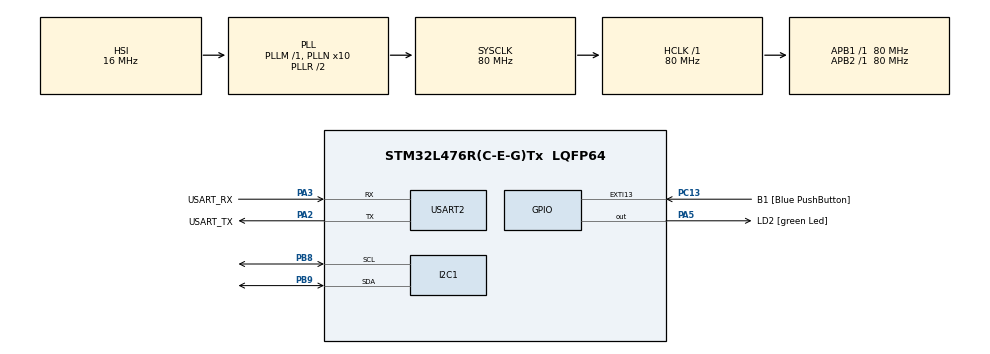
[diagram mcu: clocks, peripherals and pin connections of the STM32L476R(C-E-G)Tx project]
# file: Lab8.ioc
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I2C1.I2C_Fall_Time=0
I2C1.I2C_Rise_Time=0
I2C1.Timing=0x10909CEC
Mcu.Family=STM32L4
Mcu.Name=STM32L476R(C-E-G)Tx
Mcu.Package=LQFP64
NVIC.PriorityGroup=NVIC_PRIORITYGROUP_4
PA13\ (JTMS-SWDIO).GPIO_Label=TMS
PA13\ (JTMS-SWDIO).Mode=Serial_Wire
PA13\ (JTMS-SWDIO).Signal=SYS_JTMS-SWDIO
PA14\ (JTCK-SWCLK).GPIO_Label=TCK
PA14\ (JTCK-SWCLK).Mode=Serial_Wire
PA14\ (JTCK-SWCLK).Signal=SYS_JTCK-SWCLK
PA2.GPIO_Label=USART_TX
PA2.GPIO_Mode=GPIO_MODE_AF_PP
PA2.GPIO_PuPd=GPIO_NOPULL
PA2.GPIO_Speed=GPIO_SPEED_FREQ_VERY_HIGH
PA2.Mode=Asynchronous
PA2.Signal=USART2_TX
PA3.GPIO_Label=USART_RX
PA3.GPIO_Mode=GPIO_MODE_AF_PP
PA3.GPIO_PuPd=GPIO_NOPULL
PA3.GPIO_Speed=GPIO_SPEED_FREQ_VERY_HIGH
PA3.Mode=Asynchronous
PA3.Signal=USART2_RX
PA5.GPIO_Label=LD2 [green Led]
PA5.GPIO_ModeDefaultOutputPP=GPIO_MODE_OUTPUT_PP
PA5.GPIO_PuPd=GPIO_NOPULL
PA5.GPIO_Speed=GPIO_SPEED_FREQ_LOW
PA5.Signal=GPIO_Output
PB3\ (JTDO-TRACESWO).GPIO_Label=SWO
PB3\ (JTDO-TRACESWO).Signal=SYS_JTDO-SWO
PB8.Mode=I2C
PB8.Signal=I2C1_SCL
PB9.Mode=I2C
PB9.Signal=I2C1_SDA
PC13.GPIO_Label=B1 [Blue PushButton]
PC13.GPIO_ModeDefaultEXTI=GPIO_MODE_IT_FALLING
PC13.GPIO_PuPd=GPIO_NOPULL
PC13.Signal=GPXTI13
PC14-OSC32_IN\ (PC14).Mode=LSE-External-Oscillator
PC14-OSC32_IN\ (PC14).Signal=RCC_OSC32_IN
PC15-OSC32_OUT\ (PC15).Mode=LSE-External-Oscillator
PC15-OSC32_OUT\ (PC15).Signal=RCC_OSC32_OUT
PH0-OSC_IN\ (PH0).Signal=RCC_OSC_IN
PH1-OSC_OUT\ (PH1).Signal=RCC_OSC_OUT
ProjectManager.HeapSize=0x200
ProjectManager.StackSize=0x400
ProjectManager.TargetToolchain=STM32CubeIDE
RCC.ADCFreq_Value=64000000
RCC.AHBFreq_Value=80000000
RCC.APB1Freq_Value=80000000
RCC.APB1TimFreq_Value=80000000
RCC.APB2Freq_Value=80000000
RCC.APB2TimFreq_Value=80000000
RCC.CortexFreq_Value=80000000
RCC.HCLKFreq_Value=80000000
RCC.HSE_VALUE=8000000
RCC.HSI_VALUE=16000000
RCC.MSI_VALUE=4000000
RCC.PLLN=10
RCC.PLLSourceVirtual=RCC_PLLSOURCE_HSI
RCC.PREFETCH_ENABLE=1
RCC.SYSCLKFreq_VALUE=80000000
RCC.SYSCLKSource=RCC_SYSCLKSOURCE_PLLCLK
RCC.USBFreq_Value=64000000
RCC.VCOOutputFreq_Value=160000000
USART2.VirtualMode-Asynchronous=VM_ASYNC
board=NUCLEO-L476RG

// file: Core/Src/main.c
/* USER CODE BEGIN Header */
/**
  ******************************************************************************
  * @file           : main.c
  * @brief          : Main program body
  ******************************************************************************
  * @attention
  *
  * Copyright (c) 2025 STMicroelectronics.
  * All rights reserved.
  *
  * This software is licensed under terms that can be found in the LICENSE file
  * in the root directory of this software component.
  * If no LICENSE file comes with this software, it is provided AS-IS.
  *
  ******************************************************************************
  */
/* USER CODE END Header */
#include "main.h"

/* USER CODE BEGIN Includes */
#include <stdio.h>
#include <string.h>
/* USER CODE END Includes */

I2C_HandleTypeDef hi2c1;

UART_HandleTypeDef huart2;

/* USER CODE BEGIN PV */
char buffer[100];
#define MPU_I2C 0b1101000 << (1 + 0) // left shifted 7 bit address
#define TEMP_MSB 0x41

#define ACCEL_CONFIG 0x1C
#define X_ACCEL_MSB 0x3B
#define Y_ACCEL_MSB 0x3D
#define Z_ACCEL_MSB 0x3F
float xAccel;
float yAccel;
float zAccel;

int16_t rawGyro;
float gyroX, gyroY, gyroZ;

#define GYRO_CONFIG 0x1B // from datasheet
#define X_GYRO_MSB 0x43
#define Y_GYRO_MSB 0x45
#define Z_GYRO_MSB 0x47

/* USER CODE END PV */

void SystemClock_Config(void);
static void MX_GPIO_Init(void);
static void MX_USART2_UART_Init(void);
static void MX_I2C1_Init(void);

/* USER CODE BEGIN 0 */
void tip (float x, float y, float z){
	float meas  = 0.6;
	if (x > meas || y > meas || z > meas || x < -meas || y < -meas || z < -meas){
	   HAL_GPIO_WritePin(GPIOA, GPIO_PIN_5, GPIO_PIN_SET);
	}else{
	   HAL_GPIO_WritePin(GPIOA, GPIO_PIN_5, GPIO_PIN_RESET);
	}
}

/* USER CODE END 0 */

int main(void)
{

  /* USER CODE BEGIN 1 */

	uint8_t data[1]; //buffer to hold addr
	uint8_t data_temp[2]; //buffer to hold temp data

  /* USER CODE END 1 */

  /* MCU Configuration--------------------------------------------------------*/

  /* Reset of all peripherals, Initializes the Flash interface and the Systick. */
  HAL_Init();

  /* Configure the system clock */
  SystemClock_Config();

  /* Initialize all configured peripherals */
  MX_GPIO_Init();
  MX_USART2_UART_Init();
  MX_I2C1_Init();
  /* USER CODE BEGIN 2 */
  //turn of LED
    	HAL_GPIO_WritePin(GPIOA, GPIO_PIN_5, 0);

  HAL_StatusTypeDef ret = HAL_I2C_IsDeviceReady(&hi2c1, 0b1101000 << (1 + 0), 1,
              100); //staus update

  	if (ret == HAL_OK){
  		snprintf(buffer, sizeof(buffer), "the device is ready \r\n");
  		    		HAL_UART_Transmit(&huart2, (uint8_t *)buffer, strlen(buffer), 100);
  	} else{
  		snprintf(buffer, sizeof(buffer), "not ready \r\n");
  		    		HAL_UART_Transmit(&huart2, (uint8_t *)buffer, strlen(buffer), 100);
  	}

  //i2c turn on MPU - TASK 2
    	data[0] = 0x00;
    	ret = HAL_I2C_Mem_Write(&hi2c1, 0b1101000 << (1 + 0), 0x6B, 1, data, 1, HAL_MAX_DELAY);
    	if (ret != HAL_OK){
    		snprintf(buffer, sizeof(buffer), "Error in configuring the alert pin \r\n");
    		HAL_UART_Transmit(&huart2, (uint8_t *)buffer, strlen(buffer), 100);
    	} else{
    		snprintf(buffer, sizeof(buffer), "No error in configuring the alert pin \r\n");
    		HAL_UART_Transmit(&huart2, (uint8_t *)buffer, strlen(buffer), 100);
    	}
//
    	//acceleration +-4g - TASK 3
    	  	data[0] = 0x08;
    	  	ret = HAL_I2C_Mem_Write(&hi2c1, 0b1101000 << (1 + 0), ACCEL_CONFIG, 1, data, 1, HAL_MAX_DELAY);
    		if (ret != HAL_OK){
    			snprintf(buffer, sizeof(buffer), "Error in configuring the acceleration pin \r\n");
    			HAL_UART_Transmit(&huart2, (uint8_t *)buffer, strlen(buffer), 100);
    		} else{
    			snprintf(buffer, sizeof(buffer), "No error in configuring the acceleration pin \r\n");
    			HAL_UART_Transmit(&huart2, (uint8_t *)buffer, strlen(buffer), 100);
    		}
//
//    		//gyroscope +-4gs - TASK 4
    		data[0] = 0x10;
    		ret = HAL_I2C_Mem_Write(&hi2c1, MPU_I2C, GYRO_CONFIG, 1, data, 1, HAL_MAX_DELAY);
    		if (ret != HAL_OK){
    			snprintf(buffer, sizeof(buffer), "Error in configuring the gyroscope pin \r\n");
    			HAL_UART_Transmit(&huart2, (uint8_t *)buffer, strlen(buffer), 100);
    		} else{
    			snprintf(buffer, sizeof(buffer), "No error in configuring the gyroscope pin \r\n");
    			HAL_UART_Transmit(&huart2, (uint8_t *)buffer, strlen(buffer), 100);
    		}

  /* USER CODE END 2 */

  /* Infinite loop */
  while (1)
  {

    /* USER CODE BEGIN 3 */
	  //temp!!- TASK 2
	  // --- Temperature Read ---
	  ret = HAL_I2C_Mem_Read(&hi2c1, MPU_I2C, TEMP_MSB, 1, data_temp, 2, HAL_MAX_DELAY);
	  if (ret != HAL_OK) {
	      snprintf(buffer, sizeof(buffer), "ERROR: Temp read failed.\r\n");
	      HAL_UART_Transmit(&huart2, (uint8_t *)buffer, strlen(buffer), 100);
	  } else {
	      int16_t rawTemp = (int16_t)((data_temp[0] << 8) | data_temp[1]);
	      float degC = (rawTemp / 340.0) + 36.53;
	      snprintf(buffer, sizeof(buffer), "TEMP,%.2f\r\n", degC);  // New cleaner format
	      HAL_UART_Transmit(&huart2, (uint8_t *)buffer, strlen(buffer), 100);
	  }
	  HAL_Delay(500);

	  // --- Acceleration Reads ---
	  int16_t rawAccel;
	  float accelX, accelY, accelZ;

	  // X-axis acceleration
	  ret = HAL_I2C_Mem_Read(&hi2c1, MPU_I2C, X_ACCEL_MSB, 1, data_temp, 2, HAL_MAX_DELAY);
	  if (ret == HAL_OK) {
	      rawAccel = (int16_t)((data_temp[0] << 8) | data_temp[1]);
	      accelX = rawAccel / 8192.0; // ±4g mode sensitivity
	  }

	  // Y-axis acceleration
	  ret = HAL_I2C_Mem_Read(&hi2c1, MPU_I2C, Y_ACCEL_MSB, 1, data_temp, 2, HAL_MAX_DELAY);
	  if (ret == HAL_OK) {
	      rawAccel = (int16_t)((data_temp[0] << 8) | data_temp[1]);
	      accelY = rawAccel / 8192.0;
	  }

	  // Z-axis acceleration
	  ret = HAL_I2C_Mem_Read(&hi2c1, MPU_I2C, Z_ACCEL_MSB, 1, data_temp, 2, HAL_MAX_DELAY);
	  if (ret == HAL_OK) {
	      rawAccel = (int16_t)((data_temp[0] << 8) | data_temp[1]);
	      accelZ = rawAccel / 8192.0;
	  }

	  // Print accelerometer data in a nice CSV format
	  snprintf(buffer, sizeof(buffer), "ACCEL,%.3f,%.3f,%.3f\r\n", accelX, accelY, accelZ);
	  HAL_UART_Transmit(&huart2, (uint8_t *)buffer, strlen(buffer), 100);

	  HAL_Delay(500);

	  ret = HAL_I2C_Mem_Read(&hi2c1, MPU_I2C, X_GYRO_MSB, 1, data_temp, 2, HAL_MAX_DELAY);
	  if (ret == HAL_OK) {
	      rawGyro = (int16_t)((data_temp[0] << 8) | data_temp[1]);
	      gyroX = rawGyro / 32.8;  // Sensitivity for ±1000 deg/s range
	  }

	  // Y-axis gyroscope
	  ret = HAL_I2C_Mem_Read(&hi2c1, MPU_I2C, Y_GYRO_MSB, 1, data_temp, 2, HAL_MAX_DELAY);
	  if (ret == HAL_OK) {
	      rawGyro = (int16_t)((data_temp[0] << 8) | data_temp[1]);
	      gyroY = rawGyro / 32.8;
	  }

	  // Z-axis gyroscope
	  ret = HAL_I2C_Mem_Read(&hi2c1, MPU_I2C, Z_GYRO_MSB, 1, data_temp, 2, HAL_MAX_DELAY);
	  if (ret == HAL_OK) {
	      rawGyro = (int16_t)((data_temp[0] << 8) | data_temp[1]);
	      gyroZ = rawGyro / 32.8;
	  }

	  // Print gyroscope data
	  snprintf(buffer, sizeof(buffer), "GYRO,%.3f,%.3f,%.3f\r\n", gyroX, gyroY, gyroZ);
	  HAL_UART_Transmit(&huart2, (uint8_t *)buffer, strlen(buffer), 100);

	  HAL_Delay(500);

  }

  }
  /* USER CODE END 3 */

void SystemClock_Config(void)
{
  RCC_OscInitTypeDef RCC_OscInitStruct = {0};
  RCC_ClkInitTypeDef RCC_ClkInitStruct = {0};

  /** Configure the main internal regulator output voltage
  */
  if (HAL_PWREx_ControlVoltageScaling(PWR_REGULATOR_VOLTAGE_SCALE1) != HAL_OK)
  {
    Error_Handler();
  }

  /** Initializes the RCC Oscillators according to the specified parameters
  * in the RCC_OscInitTypeDef structure.
  */
  RCC_OscInitStruct.OscillatorType = RCC_OSCILLATORTYPE_HSI;
  RCC_OscInitStruct.HSIState = RCC_HSI_ON;
  RCC_OscInitStruct.HSICalibrationValue = RCC_HSICALIBRATION_DEFAULT;
  RCC_OscInitStruct.PLL.PLLState = RCC_PLL_ON;
  RCC_OscInitStruct.PLL.PLLSource = RCC_PLLSOURCE_HSI;
  RCC_OscInitStruct.PLL.PLLM = 1;
  RCC_OscInitStruct.PLL.PLLN = 10;
  RCC_OscInitStruct.PLL.PLLP = RCC_PLLP_DIV7;
  RCC_OscInitStruct.PLL.PLLQ = RCC_PLLQ_DIV2;
  RCC_OscInitStruct.PLL.PLLR = RCC_PLLR_DIV2;
  if (HAL_RCC_OscConfig(&RCC_OscInitStruct) != HAL_OK)
  {
    Error_Handler();
  }

  /** Initializes the CPU, AHB and APB buses clocks
  */
  RCC_ClkInitStruct.ClockType = RCC_CLOCKTYPE_HCLK|RCC_CLOCKTYPE_SYSCLK
                              |RCC_CLOCKTYPE_PCLK1|RCC_CLOCKTYPE_PCLK2;
  RCC_ClkInitStruct.SYSCLKSource = RCC_SYSCLKSOURCE_PLLCLK;
  RCC_ClkInitStruct.AHBCLKDivider = RCC_SYSCLK_DIV1;
  RCC_ClkInitStruct.APB1CLKDivider = RCC_HCLK_DIV1;
  RCC_ClkInitStruct.APB2CLKDivider = RCC_HCLK_DIV1;

  if (HAL_RCC_ClockConfig(&RCC_ClkInitStruct, FLASH_LATENCY_4) != HAL_OK)
  {
    Error_Handler();
  }
}

static void MX_I2C1_Init(void)
{

  hi2c1.Instance = I2C1;
  hi2c1.Init.Timing = 0x10909CEC;
  hi2c1.Init.OwnAddress1 = 0;
  hi2c1.Init.AddressingMode = I2C_ADDRESSINGMODE_7BIT;
  hi2c1.Init.DualAddressMode = I2C_DUALADDRESS_DISABLE;
  hi2c1.Init.OwnAddress2 = 0;
  hi2c1.Init.OwnAddress2Masks = I2C_OA2_NOMASK;
  hi2c1.Init.GeneralCallMode = I2C_GENERALCALL_DISABLE;
  hi2c1.Init.NoStretchMode = I2C_NOSTRETCH_DISABLE;
  if (HAL_I2C_Init(&hi2c1) != HAL_OK)
  {
    Error_Handler();
  }

  /** Configure Analogue filter
  */
  if (HAL_I2CEx_ConfigAnalogFilter(&hi2c1, I2C_ANALOGFILTER_ENABLE) != HAL_OK)
  {
    Error_Handler();
  }

  /** Configure Digital filter
  */
  if (HAL_I2CEx_ConfigDigitalFilter(&hi2c1, 0) != HAL_OK)
  {
    Error_Handler();
  }

}

static void MX_USART2_UART_Init(void)
{

  huart2.Instance = USART2;
  huart2.Init.BaudRate = 115200;
  huart2.Init.WordLength = UART_WORDLENGTH_8B;
  huart2.Init.StopBits = UART_STOPBITS_1;
  huart2.Init.Parity = UART_PARITY_NONE;
  huart2.Init.Mode = UART_MODE_TX_RX;
  huart2.Init.HwFlowCtl = UART_HWCONTROL_NONE;
  huart2.Init.OverSampling = UART_OVERSAMPLING_16;
  huart2.Init.OneBitSampling = UART_ONE_BIT_SAMPLE_DISABLE;
  huart2.AdvancedInit.AdvFeatureInit = UART_ADVFEATURE_NO_INIT;
  if (HAL_UART_Init(&huart2) != HAL_OK)
  {
    Error_Handler();
  }

}

static void MX_GPIO_Init(void)
{
  GPIO_InitTypeDef GPIO_InitStruct = {0};

  /* GPIO Ports Clock Enable */
  __HAL_RCC_GPIOC_CLK_ENABLE();
  __HAL_RCC_GPIOH_CLK_ENABLE();
  __HAL_RCC_GPIOA_CLK_ENABLE();
  __HAL_RCC_GPIOB_CLK_ENABLE();

  /*Configure GPIO pin Output Level */
  HAL_GPIO_WritePin(LD2_GPIO_Port, LD2_Pin, GPIO_PIN_RESET);

  /*Configure GPIO pin : B1_Pin */
  GPIO_InitStruct.Pin = B1_Pin;
  GPIO_InitStruct.Mode = GPIO_MODE_IT_FALLING;
  GPIO_InitStruct.Pull = GPIO_NOPULL;
  HAL_GPIO_Init(B1_GPIO_Port, &GPIO_InitStruct);

  /*Configure GPIO pin : LD2_Pin */
  GPIO_InitStruct.Pin = LD2_Pin;
  GPIO_InitStruct.Mode = GPIO_MODE_OUTPUT_PP;
  GPIO_InitStruct.Pull = GPIO_NOPULL;
  GPIO_InitStruct.Speed = GPIO_SPEED_FREQ_LOW;
  HAL_GPIO_Init(LD2_GPIO_Port, &GPIO_InitStruct);

}

void Error_Handler(void)
{
  __disable_irq();
  while (1)
  {
  }
}
